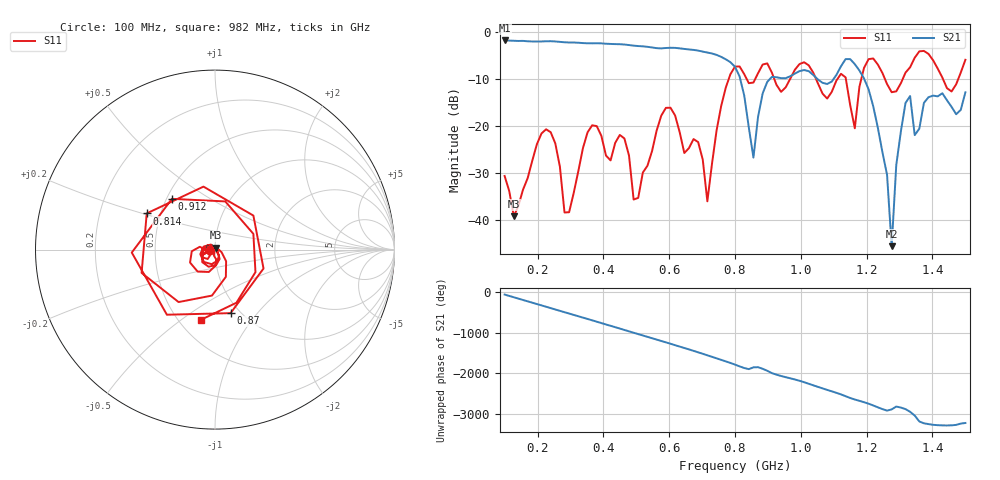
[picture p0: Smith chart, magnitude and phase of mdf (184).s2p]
! NanoVNA-App
! Date: 2025-09-26 09:41:10
! Start: 100MHz Stop: 1,5GHz Points: 101
! S-Parameter data: F S11 S21 S12 S22
# Hz S RI R 50
!  Frequency  S11_Real  S11_Imag  S21_Real  S21_Imag  S12_Real  S12_Imag  S22_Real  S22_Imag
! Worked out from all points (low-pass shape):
!   101 points, 100 MHz to 1.5 GHz, reference 50 ohm
!   highest |S21| = -1.79 dB at 100 MHz (marker M1); lowest = -45.6 dB at 1.276 GHz (marker M2)
!   |S21| within 3 dB of the highest: start of sweep to 740.6 MHz
!   lowest |S11| = -39.2 dB at 128 MHz (marker M3), VSWR 1.02, Z = 50.3 + j1.07 ohm
!   |S11| at or under -10 dB: start of sweep to 780.9 MHz; 1.046 GHz to 1.111 GHz (64.98 MHz wide, 6.02 % of centre); 1.256 GHz to 1.31 GHz (53.91 MHz wide, 4.2 % of centre) (the widest 3 of 7)
!   S12 and S22 are empty: the file has one direction only
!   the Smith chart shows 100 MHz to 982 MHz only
!   S11 on the Smith chart (normalised r, x): 100 MHz: 0.94, -0.01; 814 MHz: 0.42, +0.21; 870 MHz: 0.90, -0.74; 912 MHz: 0.53, +0.35; 982 MHz: 0.64, -0.60
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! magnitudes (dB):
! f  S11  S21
! 100 MHz  -30.6  -1.8
! 128 MHz  -39.2  -1.9
! 212 MHz  -21.6  -2.0
! 282 MHz  -38.4  -2.2
! 338 MHz  -24.7  -2.3
! 464 MHz  -22.6  -2.6
! 506 MHz  -35.3  -3.0
! 576 MHz  -17.8  -3.5
! 716 MHz  -36.0  -4.4
! 800 MHz  -7.4  -7.4
! 814 MHz  -7.3  -9.4
! 856 MHz  -10.7  -26.7
! 870 MHz  -8.8  -18.1
! 912 MHz  -8.6  -9.5
! 982 MHz  -8.0  -8.8
! 1.038 GHz  -8.7  -9.1
! 1.164 GHz  -20.5  -6.8
! 1.192 GHz  -7.6  -9.9
! 1.262 GHz  -11.1  -30.4
! 1.276 GHz  -12.8  -45.6
! 1.318 GHz  -8.6  -15.1
! 1.5 GHz  -5.9  -12.8
